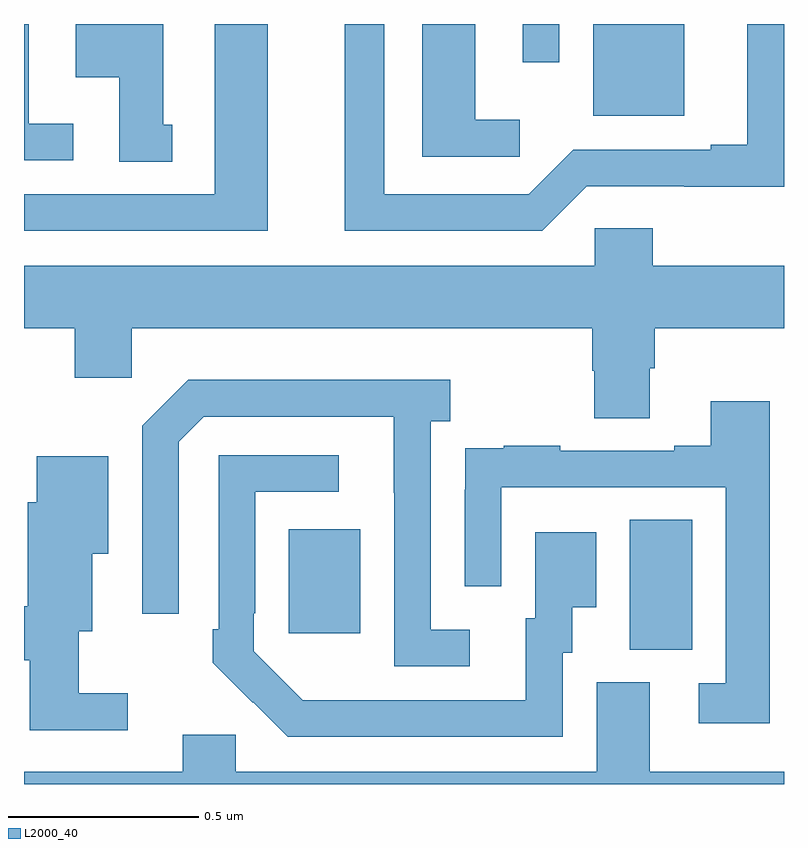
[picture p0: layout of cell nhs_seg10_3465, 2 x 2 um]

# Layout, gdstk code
import gdstk
lib = gdstk.Library(unit=1e-6, precision=1e-09)
def R(c, l, rs):  # rectangles x0, y0, x1, y1
    for r in rs: c.add(gdstk.rectangle(r[:2], r[2:], *l))
def P(c, l, *ps):  # polygons
    for p in ps: c.add(gdstk.Polygon(p, *l))
L2000_40 = (2000, 40)

nhs_seg10_3465 = lib.new_cell('nhs_seg10_3465')
R(nhs_seg10_3465, L2000_40, [(155.594,1248.853,155.758,1249.196), (154.697,1248.897,154.885,1249.171), (155.498,1250.258,155.737,1250.5), (155.313,1250.4,155.409,1250.5)])
P(nhs_seg10_3465, L2000_40, [(154.39,1250.235),(154.366,1250.235),(154.366,1250.5),(154.136,1250.5),(154.136,1250.36),(154.25,1250.36),(154.25,1250.137),(154.39,1250.137)],
  [(155.481,1250.073),(155.737,1250.073),(155.737,1250.072),(156,1250.072),(156,1250.5),(155.903,1250.5),(155.903,1250.182),(155.807,1250.182),(155.807,1250.169),(155.445,1250.169),(155.328,1250.052),(154.948,1250.052),(154.948,1250.5),(154.844,1250.5),(154.844,1249.956),(155.364,1249.956)],
  [(154.642,1250.5),(154.502,1250.5),(154.502,1250.052),(154,1250.052),(154,1249.956),(154.642,1249.956)],
  [(155.305,1250.248),(155.188,1250.248),(155.188,1250.5),(155.048,1250.5),(155.048,1250.151),(155.305,1250.151)],
  [(154.129,1250.238),(154.012,1250.238),(154.012,1250.5),(154,1250.5),(154,1250.142),(154.129,1250.142)],
  [(155.647,1249.594),(155.66,1249.594),(155.66,1249.7),(156,1249.7),(156,1249.864),(155.654,1249.864),(155.654,1249.962),(155.502,1249.962),(155.502,1249.864),(154,1249.864),(154,1249.7),(154.133,1249.7),(154.133,1249.569),(154.284,1249.569),(154.284,1249.7),(155.495,1249.7),(155.495,1249.587),(155.5,1249.587),(155.5,1249.462),(155.647,1249.462)],
  [(155.173,1248.906),(155.07,1248.906),(155.07,1249.454),(155.122,1249.454),(155.122,1249.564),(154.432,1249.564),(154.311,1249.443),(154.311,1248.948),(154.407,1248.948),(154.407,1249.401),(154.473,1249.467),(154.973,1249.467),(154.973,1249.267),(154.974,1249.267),(154.974,1248.81),(155.173,1248.81)],
  [(155.963,1249.507),(155.807,1249.507),(155.807,1249.39),(155.711,1249.39),(155.711,1249.377),(155.411,1249.377),(155.411,1249.39),(155.263,1249.39),(155.263,1249.383),(155.161,1249.383),(155.161,1249.274),(155.16,1249.274),(155.16,1249.02),(155.256,1249.02),(155.256,1249.281),(155.847,1249.281),(155.847,1248.765),(155.775,1248.765),(155.775,1248.66),(155.963,1248.66)],
  [(155.418,1248.846),(155.443,1248.846),(155.443,1248.965),(155.506,1248.965),(155.506,1249.162),(155.345,1249.162),(155.345,1248.936),(155.321,1248.936),(155.321,1248.72),(154.837,1248.72),(154.837,1248.721),(154.734,1248.721),(154.605,1248.849),(154.605,1248.949),(154.608,1248.949),(154.608,1249.269),(154.828,1249.269),(154.828,1249.365),(154.512,1249.365),(154.512,1248.907),(154.497,1248.907),(154.497,1248.819),(154.602,1248.714),(154.603,1248.715),(154.694,1248.624),(155.418,1248.624)],
  [(154.273,1248.739),(154.144,1248.739),(154.144,1248.902),(154.18,1248.902),(154.18,1249.106),(154.222,1249.106),(154.222,1249.363),(154.034,1249.363),(154.034,1249.242),(154.01,1249.242),(154.01,1248.968),(154,1248.968),(154,1248.826),(154.015,1248.826),(154.015,1248.642),(154.273,1248.642)],
  [(156,1248.532),(155.647,1248.532),(155.647,1248.768),(155.507,1248.768),(155.507,1248.532),(154.557,1248.532),(154.557,1248.63),(154.418,1248.63),(154.418,1248.532),(154,1248.532),(154,1248.5),(156,1248.5)])

lib.write_gds('nhs_seg10_3465.gds')
